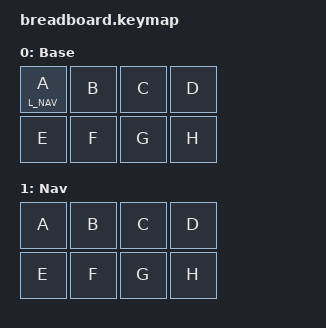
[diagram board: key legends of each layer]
// This is the key map of the breadboard cirquit.

#include <behaviors.dtsi>
#include <dt-bindings/zmk/keys.h>
#include <dt-bindings/zmk/mouse.h>   // This is required when using &mkp mouse key events.
#include <dt-bindings/zmk/bt.h>      // This is required when using &bt bluetooth commands.
#include <dt-bindings/zmk/outputs.h> // This is required when using the &out output commands.

/ {
  keymap {
    compatible = "zmk,keymap";

// The numbers are the position codes of the breadboard cirquit
//
// +-------+-------+      +-------+-------+
// |    0  |    1  |      |    2  |    3  |
// +-------+-------+      +-------+-------+
// |    4  |    5  |      |    6  |    7  |
// +-------+-------+-     +-------+-------+

    default_layer { // #define L_DEF 0
      display-name = "Base";
      bindings = <
    &lt L_NAV A    &kp B         &kp C   &kp D
    &kp E          &kp F         &kp G   &kp H
        >;
    };

    navigation_layer { // #define L_NAV 1
      display-name = "Nav";
      bindings = <
    &kp A    &kp B         &kp C   &kp D
    &kp E    &kp F         &kp G   &kp H
      >;
    };
  };
};
